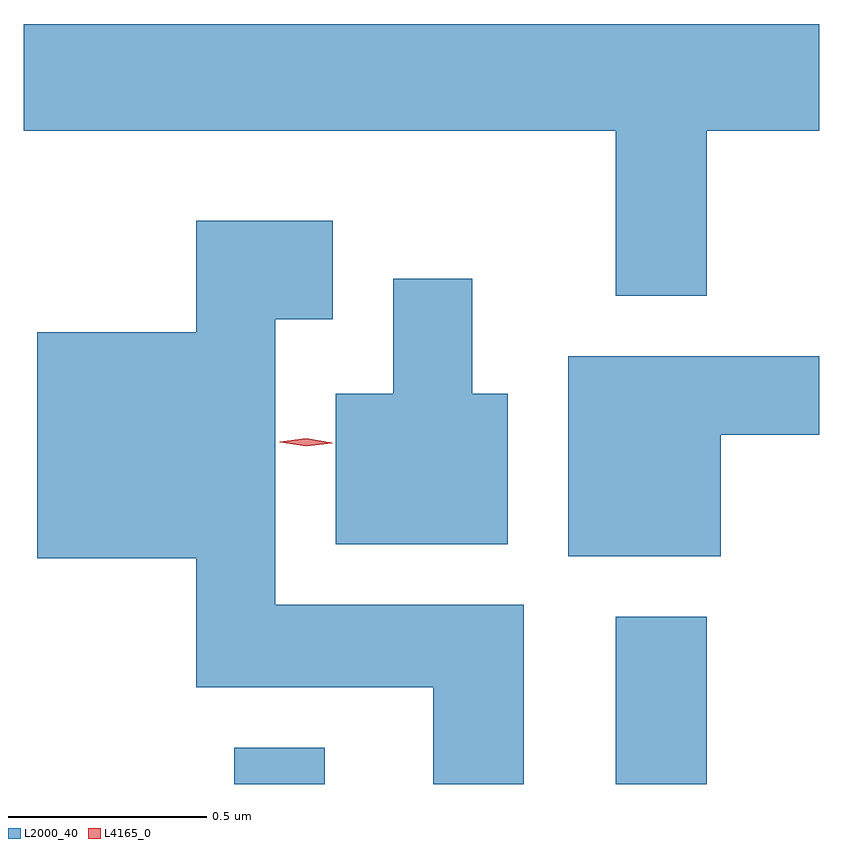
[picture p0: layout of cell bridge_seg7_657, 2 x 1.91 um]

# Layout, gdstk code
import gdstk
lib = gdstk.Library(unit=1e-6, precision=1e-09)
def R(c, l, rs):  # rectangles x0, y0, x1, y1
    for r in rs: c.add(gdstk.rectangle(r[:2], r[2:], *l))
def P(c, l, *ps):  # polygons
    for p in ps: c.add(gdstk.Polygon(p, *l))
L2000_40 = (2000, 40)
L4165_0 = (4165, 0)

bridge_seg7_657 = lib.new_cell('bridge_seg7_657')
R(bridge_seg7_657, L2000_40, [(729.691,1697.133,729.919,1697.224), (730.651,1697.133,730.879,1697.554)])
P(bridge_seg7_657, L2000_40, [(730.879,1698.776),(731.162,1698.776),(731.162,1699.044),(729.162,1699.044),(729.162,1698.776),(730.651,1698.776),(730.651,1698.361),(730.879,1698.361)],
  [(730.419,1697.584),(729.794,1697.584),(729.794,1698.301),(729.939,1698.301),(729.939,1698.549),(729.596,1698.549),(729.596,1698.269),(729.196,1698.269),(729.196,1697.701),(729.596,1697.701),(729.596,1697.376),(730.191,1697.376),(730.191,1697.133),(730.419,1697.133)],
  [(730.379,1698.114),(730.289,1698.114),(730.289,1698.404),(730.091,1698.404),(730.091,1698.114),(729.946,1698.114),(729.946,1697.736),(730.379,1697.736)],
  [(730.914,1698.011),(731.162,1698.011),(731.162,1698.209),(730.531,1698.209),(730.531,1697.706),(730.914,1697.706)])
P(bridge_seg7_657, L4165_0, [(729.872,1697.982),(729.806,1697.992),(729.806,1697.993),(729.806,1697.993),(729.872,1698.002),(729.937,1697.991),(729.938,1697.99),(729.937,1697.99)])

lib.write_gds('bridge_seg7_657.gds')
